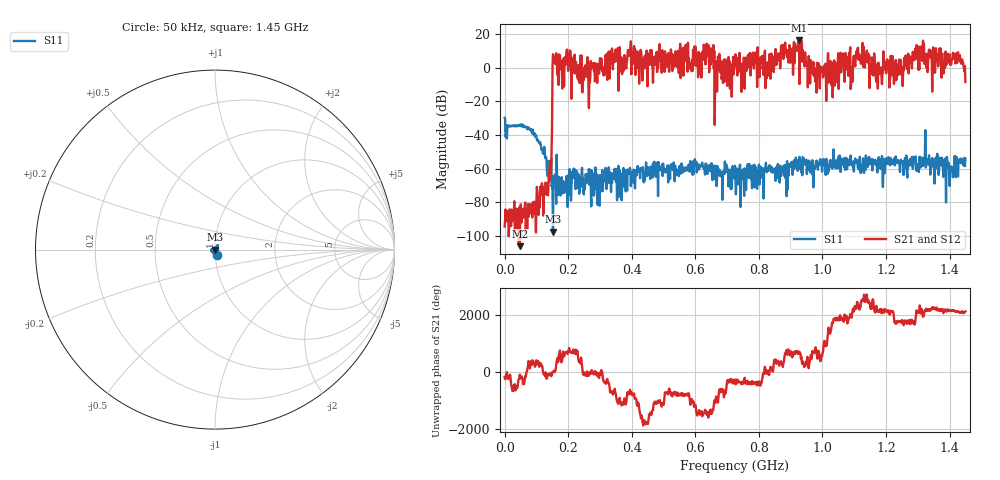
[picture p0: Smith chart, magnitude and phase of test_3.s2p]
! Created with skrf 1.11.0 (http://scikit-rf.org).
# Hz S RI R 50.0
!freq ReS11 ImS11 ReS21 ImS21 ReS12 ImS12 ReS22 ImS22
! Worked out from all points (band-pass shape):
!   1001 points, 50 kHz to 1.45 GHz, reference 50 ohm
!   highest |S21| = 16.06 dB at 926.6 MHz (marker M1); lowest = -106.0 dB at 47.9 MHz (marker M2)
!   |S21| within 3 dB of the highest: 396.8455 MHz to 397.5213 MHz (675.7 kHz wide, 0.17 % of centre); 634.9596 MHz to 637.2625 MHz (2.303 MHz wide, 0.362 % of centre) (the widest 2 of 23)
!   lowest |S11| = -97.3 dB at 152.3 MHz (marker M3), VSWR 1.00, Z = 50 + j0.0011 ohm
!   |S11| at or under -10 dB: start of sweep to end of sweep
!   |S22| runs from - to - dB; largest |S21 - S12| = 0
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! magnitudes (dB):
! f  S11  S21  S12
! 50 kHz  -29.9  -94.4  -94.4
! 47.9 MHz  -34.1  -106.0  -106.0
! 92.85 MHz  -39.9  -79.6  -79.6
! 133.4 MHz  -61.7  -68.8  -68.8
! 142.1 MHz  -59.8  -56.0  -56.0
! 152.3 MHz  -97.3  7.9  7.9
! 158.1 MHz  -66.3  2.7  2.7
! 182.7 MHz  -67.3  -3.8  -3.8
! 201.6 MHz  -63.6  7.1  7.1
! 242.2 MHz  -63.3  7.2  7.2
! 349.5 MHz  -66.2  10.7  10.7
! 484.3 MHz  -56.1  5.5  5.5
! 725 MHz  -58.4  1.4  1.4
! 926.6 MHz  -59.0  16.1  16.1
! 967.2 MHz  -63.2  -0.9  -0.9
! 1.096 GHz  -59.1  0.5  0.5
! 1.112 GHz  -59.5  11.8  11.8
! 1.209 GHz  -55.8  3.5  3.5
! 1.314 GHz  -53.5  3.9  3.9
! 1.407 GHz  -58.8  4.6  4.6
! 1.428 GHz  -55.5  7.1  7.1
! 1.45 GHz  -54.2  -8.6  -8.6
